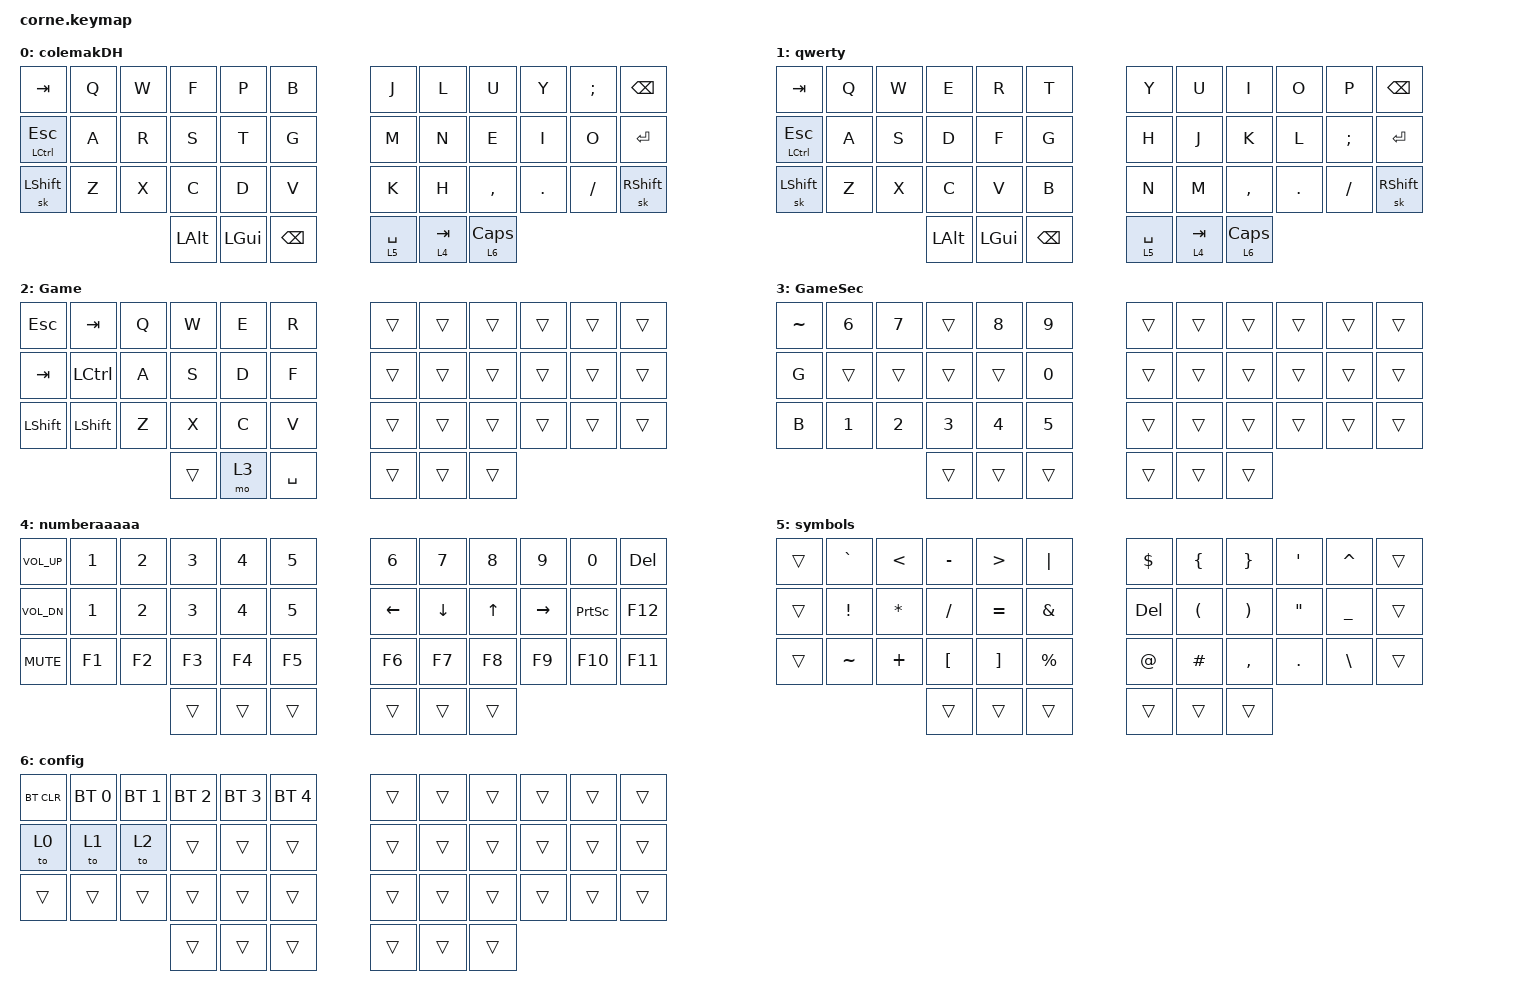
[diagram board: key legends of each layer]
/*
 * Copyright (c) 2020 The ZMK Contributors
 *
 * SPDX-License-Identifier: MIT
 */

#include <behaviors.dtsi>
#include <dt-bindings/zmk/bt.h>
#include <dt-bindings/zmk/keys.h>

/ {
    keymap {
        compatible = "zmk,keymap";

        ColemakDH {
            display-name = "colemakDH";
            bindings = <
&kp TAB                  &kp Q  &kp W  &kp F         &kp P         &kp B            &kp J        &kp L      &kp U           &kp Y    &kp SEMICOLON  &kp BSPC
&mt LEFT_CONTROL ESCAPE  &kp A  &kp R  &kp S         &kp T         &kp G            &kp M        &kp N      &kp E           &kp I    &kp O          &kp RET
&sk LSHFT                &kp Z  &kp X  &kp C         &kp D         &kp V            &kp K        &kp H      &kp COMMA       &kp DOT  &kp FSLH       &sk RIGHT_SHIFT
                                       &kp LEFT_ALT  &kp LEFT_GUI  &kp BACKSPACE    &lt 5 SPACE  &lt 4 TAB  &lt 6 CAPSLOCK
            >;
        };

        qwerty {
            display-name = "qwerty";

            // -----------------------------------------------------------------------------------------
            // |  TAB |  Q  |  W  |  E  |  R  |  T  |   |  Y  |  U   |  I  |  O  |  P  | BSPC |
            // | CTRL |  A  |  S  |  D  |  F  |  G  |   |  H  |  J   |  K  |  L  |  ;  |  '   |
            // | SHFT |  Z  |  X  |  C  |  V  |  B  |   |  N  |  M   |  ,  |  .  |  /  | ESC  |
            //                    | GUI | LWR | SPC |   | ENT | RSE  | ALT |

            bindings = <
&kp TAB                  &kp Q  &kp W  &kp E         &kp R         &kp T            &kp Y        &kp U      &kp I           &kp O    &kp P     &kp BSPC
&mt LEFT_CONTROL ESCAPE  &kp A  &kp S  &kp D         &kp F         &kp G            &kp H        &kp J      &kp K           &kp L    &kp SEMI  &kp RET
&sk LSHFT                &kp Z  &kp X  &kp C         &kp V         &kp B            &kp N        &kp M      &kp COMMA       &kp DOT  &kp FSLH  &sk RIGHT_SHIFT
                                       &kp LEFT_ALT  &kp LEFT_GUI  &kp BACKSPACE    &lt 5 SPACE  &lt 4 TAB  &lt 6 CAPSLOCK
            >;
        };

        Game {
            bindings = <
&kp ESCAPE      &kp TAB         &kp Q  &kp W   &kp E  &kp R        &trans  &trans  &trans  &trans  &trans  &trans
&kp TAB         &kp LCTRL       &kp A  &kp S   &kp D  &kp F        &trans  &trans  &trans  &trans  &trans  &trans
&kp LEFT_SHIFT  &kp LEFT_SHIFT  &kp Z  &kp X   &kp C  &kp V        &trans  &trans  &trans  &trans  &trans  &trans
                                       &trans  &mo 3  &kp SPACE    &trans  &trans  &trans
            >;

            label = "Game";
        };

        Gamming_secondary {
            bindings = <
&kp TILDE  &kp NUMBER_6  &kp NUMBER_7  &trans        &kp NUMBER_8  &kp NUMBER_9    &trans  &trans  &trans  &trans  &trans  &trans
&kp G      &trans        &trans        &trans        &trans        &kp NUMBER_0    &trans  &trans  &trans  &trans  &trans  &trans
&kp B      &kp NUMBER_1  &kp NUMBER_2  &kp NUMBER_3  &kp NUMBER_4  &kp NUMBER_5    &trans  &trans  &trans  &trans  &trans  &trans
                                       &trans        &trans        &trans          &trans  &trans  &trans
            >;

            label = "GameSec";
        };

        num_nav {
            display-name = "numberaaaaa";

            // -----------------------------------------------------------------------------------------
            // |  TAB |  1  |  2  |  3  |  4  |  5  |   |  6  |  7  |  8  |  9  |  0  | BSPC |
            // | BTCLR| BT1 | BT2 | BT3 | BT4 | BT5 |   | LFT | DWN |  UP | RGT |     |      |
            // | SHFT |     |     |     |     |     |   |     |     |     |     |     |      |
            //                    | GUI |     | SPC |   | ENT |     | ALT |

            bindings = <
&kp C_VOLUME_UP  &kp NUMBER_1  &kp NUMBER_2  &kp NUMBER_3  &kp NUMBER_4  &kp N5          &kp NUMBER_6    &kp NUMBER_7    &kp NUMBER_8  &kp NUMBER_9  &kp NUMBER_0     &kp DELETE
&kp C_VOL_DN     &kp NUMBER_1  &kp NUMBER_2  &kp NUMBER_3  &kp NUMBER_4  &kp NUMBER_5    &kp LEFT_ARROW  &kp DOWN_ARROW  &kp UP_ARROW  &kp RIGHT     &kp PRINTSCREEN  &kp F12
&kp K_MUTE       &kp F1        &kp F2        &kp F3        &kp F4        &kp F5          &kp F6          &kp F7          &kp F8        &kp F9        &kp F10          &kp F11
                                             &trans        &trans        &trans          &trans          &trans          &trans
            >;

            label = "number";
        };

        symbols {
            display-name = "symbols";

            // -----------------------------------------------------------------------------------------
            // |  TAB |  !  |  @  |  #  |  $  |  %  |   |  ^  |  &  |  *  |  (  |  )  | BSPC |
            // | CTRL |     |     |     |     |     |   |  -  |  =  |  [  |  ]  |  \  |  `   |
            // | SHFT |     |     |     |     |     |   |  _  |  +  |  {  |  }  | "|" |  ~   |
            //                    | GUI |     | SPC |   | ENT |     | ALT |

            bindings = <
&trans  &kp GRAVE  &kp LT        &kp MINUS         &kp GREATER_THAN   &kp PIPE         &kp DOLLAR  &kp LEFT_BRACE        &kp RIGHT_BRACE        &kp SINGLE_QUOTE   &kp CARET       &trans
&trans  &kp EXCL   &kp ASTERISK  &kp SLASH         &kp EQUAL          &kp AMPERSAND    &kp DELETE  &kp LEFT_PARENTHESIS  &kp RIGHT_PARENTHESIS  &kp DOUBLE_QUOTES  &kp UNDERSCORE  &trans
&trans  &kp TILDE  &kp PLUS      &kp LEFT_BRACKET  &kp RIGHT_BRACKET  &kp PERCENT      &kp AT      &kp POUND             &kp COMMA              &kp DOT            &kp BACKSLASH   &trans
                                 &trans            &trans             &trans           &trans      &trans                &trans
            >;
        };

        Switch_profile {
            bindings = <
&bt BT_CLR  &bt BT_SEL 0  &bt BT_SEL 1  &bt BT_SEL 2  &bt BT_SEL 3  &bt BT_SEL 4    &trans  &trans  &trans  &trans  &trans  &trans
&to 0       &to 1         &to 2         &trans        &trans        &trans          &trans  &trans  &trans  &trans  &trans  &trans
&trans      &trans        &trans        &trans        &trans        &trans          &trans  &trans  &trans  &trans  &trans  &trans
                                        &trans        &trans        &trans          &trans  &trans  &trans
            >;

            label = "config";
        };
    };
};
